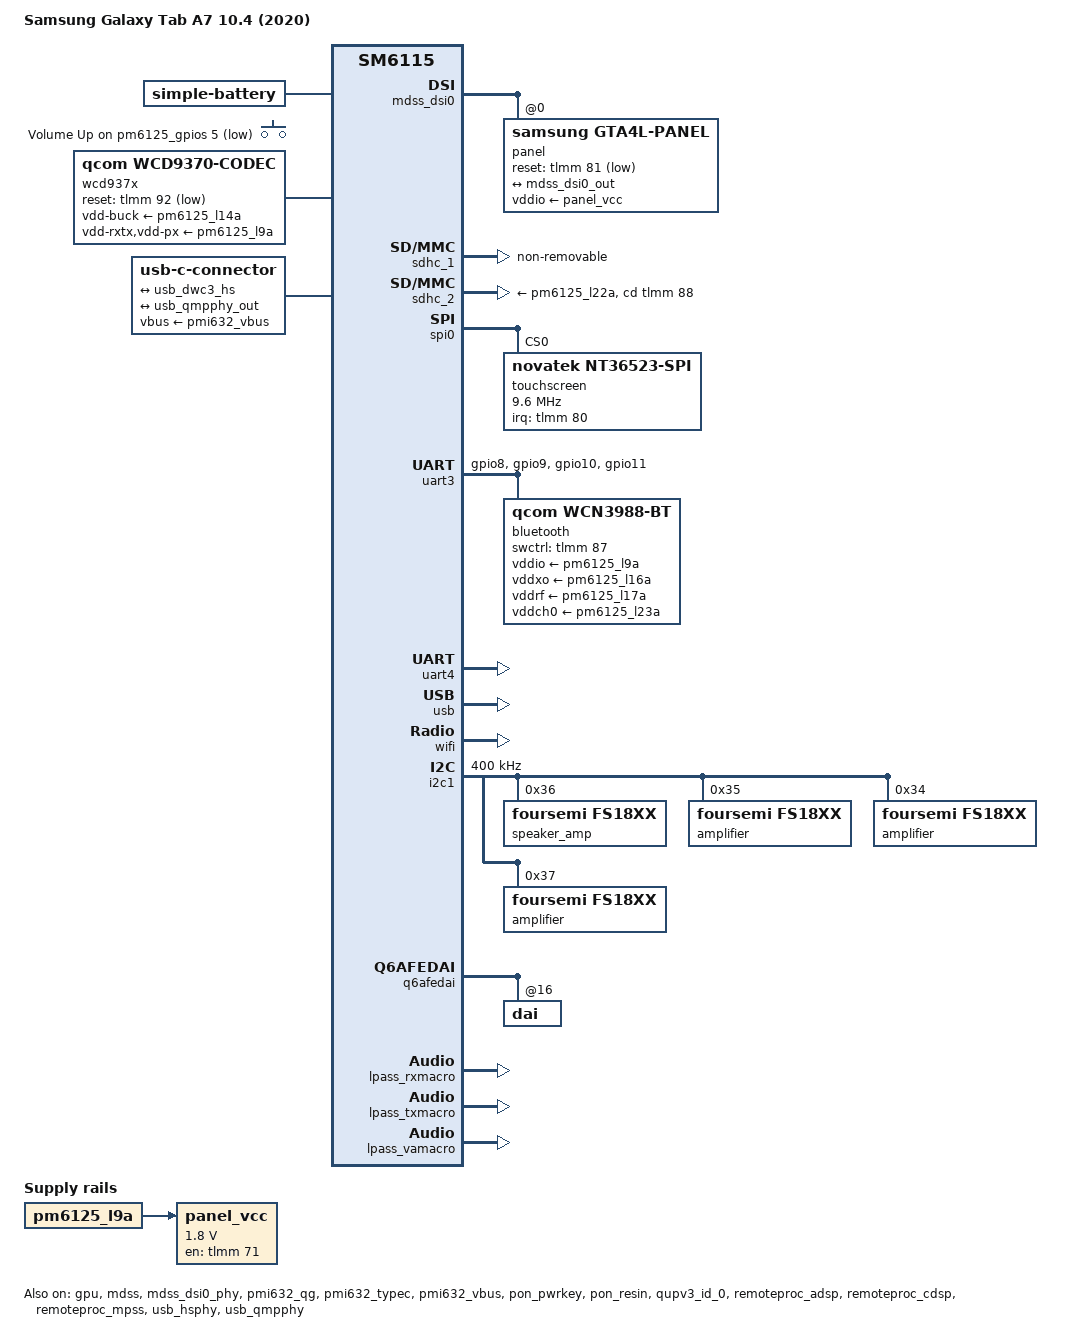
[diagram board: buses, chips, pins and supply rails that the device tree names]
// SPDX-License-Identifier: (GPL-2.0+ OR BSD-3-Clause)
/*
 * Copyright (c) 2026 V6lhost <v6lhost@proton.me>
 */

/dts-v1/;

#include "sm6115.dtsi"
#include "pm6125.dtsi"
#include "pmi632.dtsi"
#include <dt-bindings/clock/qcom,sm6115-lpasscc.h>
#include <dt-bindings/sound/qcom,q6afe.h>
#include <dt-bindings/sound/qcom,q6asm.h>
#include <dt-bindings/usb/pd.h>

/delete-node/ &cdsp_sec_mem;
/delete-node/ &pil_adsp_mem;
/delete-node/ &pil_ipa_fw_mem;
/delete-node/ &pil_ipa_gsi_mem;
/delete-node/ &pil_gpu_mem;

/ {
	model = "Samsung Galaxy Tab A7 10.4 (2020)";
	compatible = "samsung,gta4l", "qcom,sm6115";
	qcom,msm-id = <0x1bc 0x10000>;
	#address-cells = <0x02>;
	#size-cells = <0x02>;
	qcom,board-id = <0x1000b 0x00>;

	aliases {
		serial0 = &uart4;
	};

	battery: battery {
		compatible = "simple-battery";
		device-chemistry = "lithium-ion-polymer";
		charge-full-design-microamp-hours = <7040000>;
		voltage-min-design-microvolt = <3400000>;
		voltage-max-design-microvolt = <4400000>;
		/* Estimate; the stock profile describes it with tables instead */
		factory-internal-resistance-micro-ohms = <80000>;

		/* Stock "P85943-QRD-SCUD-ATL-4V4-7040mAh" profile at 25 degrees */
		ocv-capacity-celsius = <25>;
		ocv-capacity-table-0 =
			<4377700 100>, <4356100 98>, <4332300 96>, <4308500 94>,
			<4284700 92>, <4260800 90>, <4237400 88>, <4214300 86>,
			<4191400 84>, <4168600 82>, <4146200 80>, <4124600 78>,
			<4103500 76>, <4083000 74>, <4062700 72>, <4043200 70>,
			<4024600 68>, <4006700 66>, <3990000 64>, <3975500 62>,
			<3959500 60>, <3936300 58>, <3909600 56>, <3890700 54>,
			<3877400 52>, <3866700 50>, <3858100 48>, <3851000 46>,
			<3843600 44>, <3836000 42>, <3829100 40>, <3823300 38>,
			<3818200 36>, <3813600 34>, <3809800 32>, <3805900 30>,
			<3801900 28>, <3797700 26>, <3791500 24>, <3782300 22>,
			<3771500 20>, <3759800 18>, <3746300 16>, <3729700 14>,
			<3714900 12>, <3706400 10>, <3704000 9>, <3702500 8>,
			<3700600 7>, <3696000 6>, <3671900 5>, <3628200 4>,
			<3570500 3>, <3491700 2>, <3369000 1>, <3000000 0>;
	};

	chosen {
		#address-cells = <2>;
		#size-cells = <2>;
		ranges;

		stdout-path = "framebuffer0";

		framebuffer0: framebuffer@5c000000 {
			compatible = "simple-framebuffer";
			reg = <0x0 0x5c000000 0x0 (2000 * 1200 * 4)>;
			width = <1200>;
			height = <2000>;
			stride = <(1200 * 4)>;
			format = "a8r8g8b8";
		};
	};

	/*
	 * Panel power: 1.8 V I/O rail (L9A) plus the stock
	 * qcom,platform-vcc-gpio (tlmm 71). Kept always on so that the
	 * rails the bootloader left enabled are never dropped under the
	 * panel while LAB/IBB (not controlled by this kernel) stay up.
	 */
	panel_vcc: regulator-panel-vcc {
		compatible = "regulator-fixed";
		regulator-name = "panel_vcc";
		regulator-min-microvolt = <1800000>;
		regulator-max-microvolt = <1800000>;
		gpio = <&tlmm 71 GPIO_ACTIVE_HIGH>;
		enable-active-high;
		vin-supply = <&pm6125_l9a>;
		regulator-boot-on;
		regulator-always-on;
	};

	gpio-keys {
		compatible = "gpio-keys";

		pinctrl-names = "default";
		pinctrl-0 = <&vol_up_n>;

		key-volume-up {
			label = "Volume Up";
			linux,code = <KEY_VOLUMEUP>;
			gpios = <&pm6125_gpios 5 GPIO_ACTIVE_LOW>;
			debounce-interval = <15>;
			linux,can-disable;
			wakeup-source;
		};
	};

	reserved-memory {
		pil_adsp_mem: memory@53800000 {
			reg = <0x0 0x53800000 0x0 0x1e00000>;
			no-map;
		};

		pil_ipa_fw_mem: memory@55600000 {
			reg = <0x0 0x55600000 0x0 0x10000>;
			no-map;
		};

		pil_ipa_gsi_mem: memory@55610000 {
			reg = <0x0 0x55610000 0x0 0x5000>;
			no-map;
		};

		pil_gpu_mem: memory@55615000 {
			reg = <0x0 0x55615000 0x0 0x2000>;
			no-map;
		};

		ramoops@71300000 {
			compatible = "ramoops";
			reg = <0x0 0x71300000 0x0 0x100000>;
			record-size = <0x40000>;
			pmsg-size = <0x40000>;
			console-size = <0x40000>;
			ftrace-size = <0x40000>;
		};

		ss_plog_mem: memory@71100000 {
			reg = <0x0 0x71100000 0x0 0x200000>;
			no-map;
		};

		sec_debug_mem: memory@71400000 {
			reg = <0x0 0x71400000 0x0 0x800000>;
			no-map;
		};
	};

	sound {
		compatible = "qcom,qrb4210-rb2-sndcard";
		pinctrl-0 = <&lpi_i2s1_active>;
		pinctrl-names = "default";
		model = "Samsung-Galaxy-Tab-A7";

		/* Headset and built-in microphones, as in the stock tree */
		audio-routing = "AMIC1", "MIC BIAS1",
				"AMIC2", "MIC BIAS2",
				"AMIC3", "MIC BIAS3",
				"TX SWR_INPUT0", "ADC1_OUTPUT",
				"TX SWR_INPUT4", "ADC2_OUTPUT",
				"TX SWR_INPUT5", "ADC3_OUTPUT";

		mm1-dai-link {
			link-name = "MultiMedia1";

			cpu {
				sound-dai = <&q6asmdai MSM_FRONTEND_DAI_MULTIMEDIA1>;
			};
		};

		mm2-dai-link {
			link-name = "MultiMedia2";

			cpu {
				sound-dai = <&q6asmdai MSM_FRONTEND_DAI_MULTIMEDIA2>;
			};
		};

		wcd-playback-dai-link {
			link-name = "WCD Playback";

			cpu {
				sound-dai = <&q6afedai RX_CODEC_DMA_RX_0>;
			};

			platform {
				sound-dai = <&q6routing>;
			};

			codec {
				sound-dai = <&wcd937x 0>, <&swr1 0>, <&lpass_rxmacro 0>;
			};
		};

		wcd-capture-dai-link {
			link-name = "WCD Capture";

			cpu {
				sound-dai = <&q6afedai TX_CODEC_DMA_TX_3>;
			};

			platform {
				sound-dai = <&q6routing>;
			};

			codec {
				sound-dai = <&wcd937x 1>, <&swr0 0>, <&lpass_txmacro 0>;
			};
		};

		speaker-dai-link {
			link-name = "Speaker Playback";

			cpu {
				sound-dai = <&q6afedai PRIMARY_MI2S_RX>;
			};

			platform {
				sound-dai = <&q6routing>;
			};

			codec {
				sound-dai = <&speaker_amp>;
			};
		};
	};
};

&gpi_dma0 {
	status = "okay";
};

&gpu {
	status = "okay";
};

&gpu_zap_shader {
	firmware-name = "qcom/sm6115/Samsung/gta4l/a610_zap.mbn";
};

&mdss {
	status = "okay";
};

&mdss_dsi0 {
	vdda-supply = <&pm6125_l18a>;
	status = "okay";

	panel: panel@0 {
		/*
		 * One of many 1200x2000 panels; the driver picks the one the
		 * bootloader names on the command line.
		 */
		compatible = "samsung,gta4l-panel";
		reg = <0>;

		/* stock: qcom,platform-reset-gpio = <&tlmm 81 0> */
		reset-gpios = <&tlmm 81 GPIO_ACTIVE_LOW>;
		vddio-supply = <&panel_vcc>;

		rotation = <270>;

		port {
			panel_in: endpoint {
				remote-endpoint = <&mdss_dsi0_out>;
			};
		};
	};
};

&mdss_dsi0_out {
	data-lanes = <0 1 2 3>;
	remote-endpoint = <&panel_in>;
};

&mdss_dsi0_phy {
	status = "okay";
};

&pmi632_qg {
	/* The newer driver, which also follows the charger's plug interrupt */
	compatible = "qcom,pmi632-qgauge";
	interrupts = <0x2 0x13 0x4 IRQ_TYPE_EDGE_BOTH>;
	interrupt-names = "usb-plugin";
	monitored-battery = <&battery>;
	status = "okay";
};

&pmi632_typec {
	status = "okay";

	connector {
		compatible = "usb-c-connector";

		power-role = "dual";
		data-role = "dual";
		self-powered;

		typec-power-opmode = "default";
		pd-disable;

		/* Lets the PMIC boost power USB devices plugged into the tablet */
		vbus-supply = <&pmi632_vbus>;

		ports {
			#address-cells = <1>;
			#size-cells = <0>;

			port@0 {
				reg = <0>;
				pmi632_hs_in: endpoint {
					remote-endpoint = <&usb_dwc3_hs>;
				};
			};

			port@1 {
				reg = <1>;
				pmi632_ss_in: endpoint {
					remote-endpoint = <&usb_qmpphy_out>;
				};
			};
		};
	};
};

&pmi632_vbus {
	regulator-min-microamp = <500000>;
	regulator-max-microamp = <1000000>;
	status = "okay";
};

&pm6125_gpios {
	vol_up_n: vol-up-n-state {
		pins = "gpio5";
		function = "normal";
		power-source = <0>;
		bias-pull-up;
		input-enable;
	};
};

&pon_pwrkey {
	status = "okay";
};

&pon_resin {
	linux,code = <KEY_VOLUMEDOWN>;
	status = "okay";
};

&qup_spi0_default {
	drive-strength = <6>;
	bias-disable;
};

&qupv3_id_0 {
	status = "okay";
};

&remoteproc_adsp {
	firmware-name = "qcom/sm6115/Samsung/gta4l/adsp.mbn";
	status = "okay";
};

&remoteproc_cdsp {
	firmware-name = "qcom/sm6115/Samsung/gta4l/cdsp.mbn";
	status = "okay";
};

&remoteproc_mpss {
	firmware-name = "qcom/sm6115/Samsung/gta4l/modem.mbn";
	status = "okay";
};

&rpm_requests {
	regulators-0 {
		compatible = "qcom,rpm-pm6125-regulators";

		pm6125_s6a: s6 {
			regulator-min-microvolt = <304000>;
			regulator-max-microvolt = <1456000>;
		};

		pm6125_s7a: s7 {
			regulator-min-microvolt = <1280000>;
			regulator-max-microvolt = <2040000>;
		};

		pm6125_s8a: s8 {
			regulator-min-microvolt = <1064000>;
			regulator-max-microvolt = <1304000>;
		};

		pm6125_l1a: l1 {
			regulator-min-microvolt = <952000>;
			regulator-max-microvolt = <1152000>;
		};

		pm6125_l4a: l4 {
			regulator-min-microvolt = <488000>;
			regulator-max-microvolt = <1000000>;
		};

		pm6125_l5a: l5 {
			regulator-min-microvolt = <1648000>;
			/* 3.056V capped to 2.96V for SDHCI */
			regulator-max-microvolt = <2960000>;
			regulator-allow-set-load;
			/* Broken hw, this one can't be turned off or SDHCI will break! */
			regulator-always-on;
		};

		pm6125_l6a: l6 {
			regulator-min-microvolt = <576000>;
			regulator-max-microvolt = <656000>;
		};

		pm6125_l7a: l7 {
			regulator-min-microvolt = <1200000>;
			regulator-max-microvolt = <1304000>;
		};

		pm6125_l8a: l8 {
			regulator-min-microvolt = <400000>;
			regulator-max-microvolt = <728000>;
		};

		pm6125_l9a: l9 {
			regulator-min-microvolt = <1800000>;
			regulator-max-microvolt = <2000000>;
		};

		pm6125_l10a: l10 {
			regulator-min-microvolt = <1704000>;
			regulator-max-microvolt = <1904000>;
		};

		pm6125_l11a: l11 {
			regulator-min-microvolt = <1704000>;
			regulator-max-microvolt = <1952000>;
			regulator-allow-set-load;
		};

		pm6125_l12a: l12 {
			regulator-min-microvolt = <1624000>;
			regulator-max-microvolt = <1984000>;
		};

		pm6125_l13a: l13 {
			regulator-min-microvolt = <1504000>;
			regulator-max-microvolt = <1952000>;
		};

		pm6125_l14a: l14 {
			regulator-min-microvolt = <1704000>;
			regulator-max-microvolt = <1904000>;
		};

		pm6125_l15a: l15 {
			regulator-min-microvolt = <2920000>;
			regulator-max-microvolt = <3232000>;
		};

		pm6125_l16a: l16 {
			regulator-min-microvolt = <1704000>;
			regulator-max-microvolt = <1904000>;
		};

		pm6125_l17a: l17 {
			regulator-min-microvolt = <1152000>;
			regulator-max-microvolt = <1384000>;
		};

		pm6125_l18a: l18 {
			regulator-min-microvolt = <1104000>;
			regulator-max-microvolt = <1312000>;
		};

		pm6125_l19a: l19 {
			regulator-min-microvolt = <1624000>;
			regulator-max-microvolt = <3304000>;
		};

		pm6125_l20a: l20 {
			regulator-min-microvolt = <1624000>;
			regulator-max-microvolt = <3304000>;
		};

		pm6125_l21a: l21 {
			regulator-min-microvolt = <2400000>;
			regulator-max-microvolt = <3600000>;
			/*
			 * The stock tree keeps this one on with no consumer of
			 * its own; tried as the supply of the light sensor.
			 */
			regulator-boot-on;
			regulator-always-on;
		};

		pm6125_l22a: l22 {
			regulator-min-microvolt = <2952000>;
			/* 3.304V capped to 2.96V for SDHCI */
			regulator-max-microvolt = <2960000>;
			regulator-allow-set-load;
			/* Broken hw, this one can't be turned off or SDHCI will break! */
			regulator-always-on;
		};

		pm6125_l23a: l23 {
			regulator-min-microvolt = <3200000>;
			regulator-max-microvolt = <3400000>;
		};

		pm6125_l24a: l24 {
			regulator-min-microvolt = <2704000>;
			regulator-max-microvolt = <3600000>;
			regulator-allow-set-load;
		};
	};
};

&sdhc_1 {
	non-removable;
	status = "okay";
};

&sdc2_state_off {
	cd-pins {
		pins = "gpio88";
		function = "gpio";
		drive-strength = <2>;
		bias-disable;
	};
};

&sdc2_state_on {
	cd-pins {
		pins = "gpio88";
		function = "gpio";
		drive-strength = <2>;
		bias-pull-up;
	};
};

&sdhc_2 {
	pinctrl-0 = <&sdc2_state_on>;
	pinctrl-1 = <&sdc2_state_off>;
	pinctrl-names = "default", "sleep";

	cd-gpios = <&tlmm 88 GPIO_ACTIVE_HIGH>;

	vmmc-supply = <&pm6125_l22a>;
	vqmmc-supply = <&pm6125_l5a>;

	status = "okay";
};

&spi0 {
	status = "okay";

	touchscreen@0 {
		/*
		 * The controller depends on the panel variant; each driver
		 * checks the panel the bootloader names and only binds to its
		 * own family.
		 */
		compatible = "novatek,nt36523-spi", "himax,hx83102e-spi",
			     "focaltech,ft8201-spi";
		reg = <0>;
		spi-max-frequency = <9600000>;

		interrupts-extended = <&tlmm 80 IRQ_TYPE_EDGE_RISING>;

		pinctrl-0 = <&ts_int_n>;
		pinctrl-names = "default";

		/* The touch firmware is lost whenever the panel is reset */
		panel = <&panel>;
		firmware-name = "novatek_ts_fw_lide_hsd.bin";

		touchscreen-size-x = <1200>;
		touchscreen-size-y = <2000>;
	};
};

&tlmm {
	/*
	 * GPIO 0-3 carry the touchscreen SPI bus (QUP0) on this board and
	 * are driven by the stock kernel, so they are not reserved here.
	 */
	gpio-reserved-ranges = <14 4>;

	wcd_reset_n: wcd-reset-n-state {
		pins = "gpio92";
		function = "gpio";
		drive-strength = <16>;
		bias-disable;
	};

	uart3_default: uart3-default-state {
		cts-pins {
			pins = "gpio8";
			function = "qup3";
			drive-strength = <2>;
			bias-bus-hold;
		};

		rts-pins {
			pins = "gpio9";
			function = "qup3";
			drive-strength = <2>;
			bias-disable;
		};

		tx-pins {
			pins = "gpio10";
			function = "qup3";
			drive-strength = <2>;
			bias-disable;
		};

		rx-pins {
			pins = "gpio11";
			function = "qup3";
			drive-strength = <2>;
			bias-pull-up;
		};
	};

	uart3_sleep: uart3-sleep-state {
		cts-pins {
			pins = "gpio8";
			function = "gpio";
			drive-strength = <2>;
			bias-bus-hold;
		};

		rts-pins {
			pins = "gpio9";
			function = "gpio";
			drive-strength = <2>;
			bias-pull-down;
		};

		tx-pins {
			pins = "gpio10";
			function = "gpio";
			drive-strength = <2>;
			bias-pull-up;
		};

		rx-pins {
			pins = "gpio11";
			function = "gpio";
			drive-strength = <2>;
			bias-pull-up;
		};
	};

	bt_sw_ctrl: bt-sw-ctrl-state {
		pins = "gpio87";
		function = "gpio";
		bias-pull-down;
	};

	ts_rst_n: ts-rst-n-state {
		pins = "gpio74";
		function = "gpio";
		drive-strength = <8>;
		bias-pull-up;
	};

	ts_int_n: ts-int-n-state {
		pins = "gpio80";
		function = "gpio";
		drive-strength = <8>;
		bias-pull-up;
	};
};

&uart3 {
	interrupts-extended = <&intc GIC_SPI 330 IRQ_TYPE_LEVEL_HIGH>,
			      <&tlmm 11 IRQ_TYPE_EDGE_FALLING>;
	pinctrl-0 = <&uart3_default>;
	pinctrl-1 = <&uart3_sleep>;
	pinctrl-names = "default", "sleep";
	status = "okay";

	/* WCN3988: the stock firmware loads apbtfw11.tlv / apnv11.bin */
	bluetooth {
		compatible = "qcom,wcn3988-bt";

		pinctrl-0 = <&bt_sw_ctrl>;
		pinctrl-names = "default";

		vddio-supply = <&pm6125_l9a>;
		vddxo-supply = <&pm6125_l16a>;
		vddrf-supply = <&pm6125_l17a>;
		vddch0-supply = <&pm6125_l23a>;
		swctrl-gpios = <&tlmm 87 GPIO_ACTIVE_HIGH>;
		max-speed = <3200000>;
	};
};

/* Debug UART (ttyMSM0, 115200n8), the same port the bootloader logs to */
&uart4 {
	status = "okay";
};

&usb {
	status = "okay";
};

&usb_dwc3_hs {
	remote-endpoint = <&pmi632_hs_in>;
};

&usb_hsphy {
	vdd-supply = <&pm6125_l4a>;
	vdda-pll-supply = <&pm6125_l12a>;
	vdda-phy-dpdm-supply = <&pm6125_l15a>;
	status = "okay";
};

&usb_qmpphy {
	vdda-phy-supply = <&pm6125_l4a>;
	vdda-pll-supply = <&pm6125_l12a>;
	status = "okay";
};

&usb_qmpphy_out {
	remote-endpoint = <&pmi632_ss_in>;
};

&wifi {
	vdd-0.8-cx-mx-supply = <&pm6125_l8a>;
	vdd-1.8-xo-supply = <&pm6125_l16a>;
	vdd-1.3-rfa-supply = <&pm6125_l17a>;
	vdd-3.3-ch0-supply = <&pm6125_l23a>;

	status = "okay";
};

&xo_board {
	clock-frequency = <19200000>;
};

/* Four FourSemi FS18xx amplifiers share the primary MI2S data line */
&i2c1 {
	clock-frequency = <400000>;

	status = "okay";

	speaker_amp: amplifier@36 {
		compatible = "foursemi,fs18xx";
		reg = <0x36>;
		fsm,position = "LBTM";
		#sound-dai-cells = <0>;
	};

	amplifier@35 {
		compatible = "foursemi,fs18xx";
		reg = <0x35>;
		fsm,position = "LTOP";
	};

	amplifier@34 {
		compatible = "foursemi,fs18xx";
		reg = <0x34>;
		fsm,position = "RTOP";
	};

	amplifier@37 {
		compatible = "foursemi,fs18xx";
		reg = <0x37>;
		fsm,position = "RBTM";
	};
};

&lpass_tlmm {
	/*
	 * Only the codec vote: the stock tree of this SoC votes nothing else
	 * and the macro vote got no answer from the firmware.
	 */
	clocks = <&q6afecc LPASS_HW_DCODEC_VOTE LPASS_CLK_ATTRIBUTE_COUPLE_NO>;
	clock-names = "audio";

	lpass_tx_swr_active: lpass-tx-swr-active-state {
		clk-pins {
			pins = "gpio0";
			function = "swr_tx_clk";
			drive-strength = <10>;
			slew-rate = <3>;
			bias-disable;
		};

		data-pins {
			pins = "gpio1", "gpio2";
			function = "swr_tx_data";
			drive-strength = <10>;
			slew-rate = <3>;
			bias-bus-hold;
		};
	};

	lpass_rx_swr_active: lpass-rx-swr-active-state {
		clk-pins {
			pins = "gpio3";
			function = "swr_rx_clk";
			drive-strength = <10>;
			slew-rate = <3>;
			bias-disable;
		};

		data-pins {
			pins = "gpio4", "gpio5";
			function = "swr_rx_data";
			drive-strength = <10>;
			slew-rate = <3>;
			bias-bus-hold;
		};
	};

	lpi_i2s1_active: lpi-i2s1-active-state {
		sck-pins {
			pins = "gpio6";
			function = "i2s1_clk";
			bias-disable;
			drive-strength = <8>;
		};

		ws-pins {
			pins = "gpio7";
			function = "i2s1_ws";
			bias-disable;
			drive-strength = <8>;
		};

		data-pins {
			pins = "gpio8";
			function = "i2s1_data";
			bias-disable;
			drive-strength = <8>;
		};
	};
};

&q6afedai {
	dai@16 {
		reg = <PRIMARY_MI2S_RX>;
		qcom,sd-lines = <0>;
	};
};

&soc {
	/* Hack for passing bootloader checks */
	spi@4a80000 {
		reg = <0x0 0x04a80000 0x0 0x4000>;
		status = "disabled";

		/* The bootloader of Novatek touch tablets looks for this node */
		novatek@0 {
			status = "disabled";
		};
	};
};

/ {
	/* Headphone jack and microphones */
	wcd937x: audio-codec {
		compatible = "qcom,wcd9370-codec";

		pinctrl-0 = <&wcd_reset_n>;
		pinctrl-names = "default";

		/* stock: wcd937x_reset_active, gpio92 high = running */
		reset-gpios = <&tlmm 92 GPIO_ACTIVE_LOW>;

		vdd-buck-supply = <&pm6125_l14a>;
		vdd-rxtx-supply = <&pm6125_l9a>;
		vdd-px-supply = <&pm6125_l9a>;

		/* stock: qcom,cdc-micbias*-mv = 2400 */
		qcom,micbias1-microvolt = <2400000>;
		qcom,micbias2-microvolt = <2400000>;
		qcom,micbias3-microvolt = <2400000>;

		qcom,rx-device = <&wcd937x_rx>;
		qcom,tx-device = <&wcd937x_tx>;

		#sound-dai-cells = <1>;
	};
};

&soc {
	/* LPASS codec blocks; addresses and interrupts from the stock tree */
	lpass_rxmacro: codec@a600000 {
		compatible = "qcom,sm6115-lpass-rx-macro";
		reg = <0x0 0x0a600000 0x0 0x1000>;

		clocks = <&q6afecc LPASS_CLK_ID_RX_CORE_MCLK LPASS_CLK_ATTRIBUTE_COUPLE_NO>,
			 <&q6afecc LPASS_CLK_ID_RX_CORE_NPL_MCLK LPASS_CLK_ATTRIBUTE_COUPLE_NO>,
			 <&q6afecc LPASS_HW_DCODEC_VOTE LPASS_CLK_ATTRIBUTE_COUPLE_NO>,
			 <&lpass_vamacro>;
		clock-names = "mclk", "npl", "dcodec", "fsgen";

		#clock-cells = <0>;
		#sound-dai-cells = <1>;
	};

	swr1: soundwire@a610000 {
		compatible = "qcom,soundwire-v1.6.0";
		reg = <0x0 0x0a610000 0x0 0x2000>;
		interrupts = <GIC_SPI 297 IRQ_TYPE_LEVEL_HIGH>;

		pinctrl-0 = <&lpass_rx_swr_active>;
		pinctrl-names = "default";

		clocks = <&lpass_rxmacro>;
		clock-names = "iface";

		resets = <&lpass_audiocc LPASS_AUDIO_SWR_RX_CGCR>;
		reset-names = "swr_audio_cgcr";

		label = "RX";
		qcom,din-ports = <0>;
		qcom,dout-ports = <5>;

		qcom,ports-word-length =	/bits/ 8 <0x01 0x07 0x04 0xff 0xff>;
		qcom,ports-sinterval-low =	/bits/ 8 <0x03 0x3f 0x1f 0x03 0x03>;
		qcom,ports-offset1 =		/bits/ 8 <0x00 0x00 0x0b 0x01 0x01>;
		qcom,ports-offset2 =		/bits/ 8 <0x00 0x00 0x0b 0x00 0x00>;
		qcom,ports-lane-control =	/bits/ 8 <0x01 0x00 0x00 0x00 0x00>;
		qcom,ports-block-pack-mode =	/bits/ 8 <0xff 0x00 0x01 0xff 0xff>;
		qcom,ports-hstart =		/bits/ 8 <0xff 0x03 0xff 0xff 0xff>;
		qcom,ports-hstop =		/bits/ 8 <0xff 0x06 0xff 0xff 0xff>;
		qcom,ports-block-group-count =	/bits/ 8 <0xff 0xff 0xff 0xff 0x00>;

		#sound-dai-cells = <1>;
		#address-cells = <2>;
		#size-cells = <0>;

		wcd937x_rx: codec@0,4 {
			compatible = "sdw20217010a00";
			reg = <0 4>;
			qcom,rx-port-mapping = <1 2 3 4 5>;
			qcom,rx-channel-mapping = /bits/ 8 <1 2 1 1 2 1 1 2>;
		};
	};

	lpass_txmacro: codec@a620000 {
		compatible = "qcom,sm6115-lpass-tx-macro";
		reg = <0x0 0x0a620000 0x0 0x1000>;

		clocks = <&q6afecc LPASS_CLK_ID_TX_CORE_MCLK LPASS_CLK_ATTRIBUTE_COUPLE_NO>,
			 <&q6afecc LPASS_CLK_ID_TX_CORE_NPL_MCLK LPASS_CLK_ATTRIBUTE_COUPLE_NO>,
			 <&q6afecc LPASS_HW_DCODEC_VOTE LPASS_CLK_ATTRIBUTE_COUPLE_NO>,
			 <&lpass_vamacro>;
		clock-names = "mclk", "npl", "dcodec", "fsgen";

		#clock-cells = <0>;
		#sound-dai-cells = <1>;
	};

	lpass_audiocc: clock-controller@a6a9000 {
		compatible = "qcom,sm6115-lpassaudiocc";
		reg = <0x0 0x0a6a9000 0x0 0x1000>;
		#reset-cells = <1>;
	};

	lpass_vamacro: codec@a730000 {
		compatible = "qcom,sm6115-lpass-va-macro";
		reg = <0x0 0x0a730000 0x0 0x1000>;

		clocks = <&q6afecc LPASS_CLK_ID_VA_CORE_MCLK LPASS_CLK_ATTRIBUTE_COUPLE_NO>,
			 <&q6afecc LPASS_HW_DCODEC_VOTE LPASS_CLK_ATTRIBUTE_COUPLE_NO>,
			 <&q6afecc LPASS_CLK_ID_VA_CORE_2X_MCLK LPASS_CLK_ATTRIBUTE_COUPLE_NO>;
		clock-names = "mclk", "dcodec", "npl";

		#clock-cells = <0>;
		clock-output-names = "fsgen";
		#sound-dai-cells = <1>;
	};

	swr0: soundwire@a740000 {
		compatible = "qcom,soundwire-v1.6.0";
		reg = <0x0 0x0a740000 0x0 0x2000>;
		interrupts = <GIC_SPI 296 IRQ_TYPE_LEVEL_HIGH>,
			     <GIC_SPI 79 IRQ_TYPE_LEVEL_HIGH>;

		pinctrl-0 = <&lpass_tx_swr_active>;
		pinctrl-names = "default";

		clocks = <&lpass_vamacro>;
		clock-names = "iface";

		resets = <&lpasscc LPASS_SWR_TX_CONFIG_CGCR>;
		reset-names = "swr_audio_cgcr";

		label = "VA_TX";
		qcom,din-ports = <3>;
		qcom,dout-ports = <0>;

		qcom,ports-sinterval-low =	/bits/ 8 <0x01 0x03 0x03>;
		qcom,ports-offset1 =		/bits/ 8 <0x01 0x00 0x02>;
		qcom,ports-offset2 =		/bits/ 8 <0x00 0x00 0x00>;
		qcom,ports-hstart =		/bits/ 8 <0xff 0xff 0xff>;
		qcom,ports-hstop =		/bits/ 8 <0xff 0xff 0xff>;
		qcom,ports-word-length =	/bits/ 8 <0xff 0x00 0xff>;
		qcom,ports-block-pack-mode =	/bits/ 8 <0xff 0xff 0xff>;
		qcom,ports-block-group-count =	/bits/ 8 <0xff 0xff 0xff>;
		qcom,ports-lane-control =	/bits/ 8 <0x00 0x01 0x00>;

		#sound-dai-cells = <1>;
		#address-cells = <2>;
		#size-cells = <0>;

		wcd937x_tx: codec@0,3 {
			compatible = "sdw20217010a00";
			reg = <0 3>;
			qcom,tx-port-mapping = <1 1 2 3>;
			qcom,tx-channel-mapping = /bits/ 8 <1 2 1 1 2 3 3 4 1 2 3 4>;
		};
	};

	lpasscc: clock-controller@a7ec000 {
		compatible = "qcom,sm6115-lpasscc";
		reg = <0x0 0x0a7ec000 0x0 0x1000>;
		#reset-cells = <1>;
	};
};
